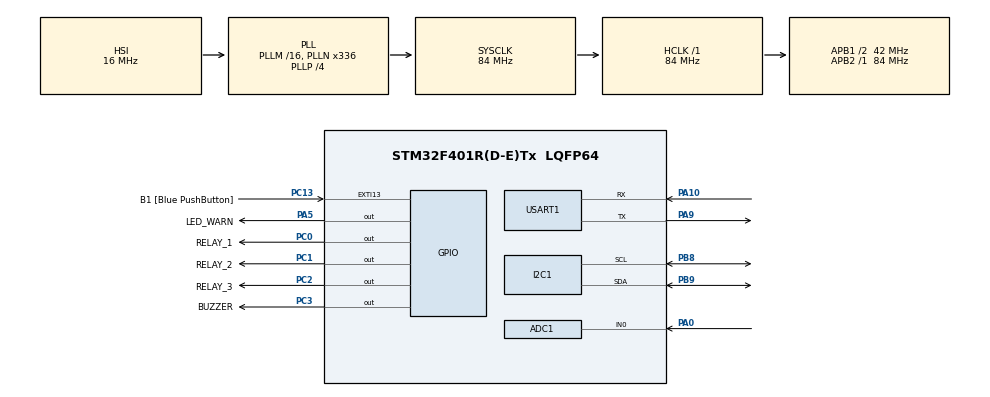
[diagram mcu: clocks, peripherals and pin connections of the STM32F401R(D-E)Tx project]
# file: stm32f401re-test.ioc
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ADC1.Channel-0\#ChannelRegularConversion=ADC_CHANNEL_0
ADC1.NbrOfConversionFlag=1
ADC1.Rank-0\#ChannelRegularConversion=1
ADC1.SamplingTime-0\#ChannelRegularConversion=ADC_SAMPLETIME_3CYCLES
ADC1.master=1
Mcu.Family=STM32F4
Mcu.Name=STM32F401R(D-E)Tx
Mcu.Package=LQFP64
NVIC.PriorityGroup=NVIC_PRIORITYGROUP_4
NVIC.USART1_IRQn=true\:0\:0\:false\:false\:true\:true\:true\:true
PA0-WKUP.Signal=ADCx_IN0
PA10.Mode=Asynchronous
PA10.Signal=USART1_RX
PA13.GPIO_Label=TMS
PA13.Mode=Serial_Wire
PA13.Signal=SYS_JTMS-SWDIO
PA14.GPIO_Label=TCK
PA14.Mode=Serial_Wire
PA14.Signal=SYS_JTCK-SWCLK
PA2.GPIO_Label=USART_TX
PA2.GPIO_Mode=GPIO_MODE_AF_PP
PA2.GPIO_PuPd=GPIO_NOPULL
PA2.GPIO_Speed=GPIO_SPEED_FREQ_LOW
PA2.Signal=USART2_TX
PA3.GPIO_Label=USART_RX
PA3.GPIO_Mode=GPIO_MODE_AF_PP
PA3.GPIO_PuPd=GPIO_NOPULL
PA3.GPIO_Speed=GPIO_SPEED_FREQ_LOW
PA3.Signal=USART2_RX
PA5.GPIO_Label=LED_WARN
PA5.GPIO_Mode=GPIO_MODE_OUTPUT_PP
PA5.GPIO_PuPd=GPIO_NOPULL
PA5.GPIO_Speed=GPIO_SPEED_FREQ_LOW
PA5.Signal=GPIO_Output
PA9.Mode=Asynchronous
PA9.Signal=USART1_TX
PB3.GPIO_Label=SWO
PB3.Signal=SYS_JTDO-SWO
PB8.Mode=I2C
PB8.Signal=I2C1_SCL
PB9.Mode=I2C
PB9.Signal=I2C1_SDA
PC0.GPIO_Label=RELAY_1
PC0.Signal=GPIO_Output
PC1.GPIO_Label=RELAY_2
PC1.Signal=GPIO_Output
PC13-ANTI_TAMP.GPIO_Label=B1 [Blue PushButton]
PC13-ANTI_TAMP.GPIO_ModeDefaultEXTI=GPIO_MODE_IT_FALLING
PC13-ANTI_TAMP.GPIO_PuPd=GPIO_NOPULL
PC13-ANTI_TAMP.Signal=GPXTI13
PC14-OSC32_IN.Mode=LSE-External-Oscillator
PC14-OSC32_IN.Signal=RCC_OSC32_IN
PC15-OSC32_OUT.Mode=LSE-External-Oscillator
PC15-OSC32_OUT.Signal=RCC_OSC32_OUT
PC2.GPIO_Label=RELAY_3
PC2.Signal=GPIO_Output
PC3.GPIO_Label=BUZZER
PC3.Signal=GPIO_Output
PH0\ -\ OSC_IN.Mode=HSE-External-Clock-Source
PH0\ -\ OSC_IN.Signal=RCC_OSC_IN
PH1\ -\ OSC_OUT.Mode=HSE-External-Clock-Source
PH1\ -\ OSC_OUT.Signal=RCC_OSC_OUT
ProjectManager.HeapSize=0x200
ProjectManager.StackSize=0x400
ProjectManager.TargetToolchain=STM32CubeIDE
RCC.48MHZClocksFreq_Value=48000000
RCC.AHBFreq_Value=84000000
RCC.APB1CLKDivider=RCC_HCLK_DIV2
RCC.APB1Freq_Value=42000000
RCC.APB1TimFreq_Value=84000000
RCC.APB2Freq_Value=84000000
RCC.APB2TimFreq_Value=84000000
RCC.CortexFreq_Value=84000000
RCC.HCLKFreq_Value=84000000
RCC.HSE_VALUE=8000000
RCC.HSI_VALUE=16000000
RCC.PLLN=336
RCC.PLLP=RCC_PLLP_DIV4
RCC.PLLQ=7
RCC.SYSCLKFreq_VALUE=84000000
RCC.SYSCLKSource=RCC_SYSCLKSOURCE_PLLCLK
RCC.VCOOutputFreq_Value=336000000
SH.ADCx_IN0.0=ADC1_IN0,IN0
USART1.VirtualMode=VM_ASYNC
board=NUCLEO-F401RE

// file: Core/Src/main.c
/* USER CODE BEGIN Header */
/**
 ******************************************************************************
 * @file           : main.c
 * @brief          : Main program body
 ******************************************************************************
 * @attention
 *
 * Copyright (c) 2026 STMicroelectronics.
 * All rights reserved.
 *
 * This software is licensed under terms that can be found in the LICENSE file
 * in the root directory of this software component.
 * If no LICENSE file comes with this software, it is provided AS-IS.
 *
 ******************************************************************************
 */
/* USER CODE END Header */
#include "main.h"

/* USER CODE BEGIN Includes */
#include "app_types.h"
#include "sensor_bmp280.h"
#include "sensor_bh1750.h"
#include "sensor_mq135.h"
#include "actuator_relay.h"
#include "actuator_alert.h"
#include "comm_esp8266_tx.h"
#include "comm_esp8266_rx.h"
#include <stdio.h>
#include <string.h>
/* USER CODE END Includes */

ADC_HandleTypeDef hadc1;

I2C_HandleTypeDef hi2c1;

UART_HandleTypeDef huart1;

/* USER CODE BEGIN PV */
SensorData_t labData; // Khởi tạo biến labData dùng chung cho hệ thống
Thresholds_t sysThresholds = { 30.0f, 100.0f, 60 };
// Biến lưu chế độ hoạt động: 1 = AUTO (Tự động), 0 = MANUAL (Thủ công)
volatile uint8_t sync_request = 0;
volatile uint8_t systemMode = 1;
/* USER CODE END PV */

void SystemClock_Config(void);
static void MX_GPIO_Init(void);
static void MX_ADC1_Init(void);
static void MX_I2C1_Init(void);
static void MX_USART1_UART_Init(void);

int main(void)
{

  /* MCU Configuration--------------------------------------------------------*/

  /* Reset of all peripherals, Initializes the Flash interface and the Systick. */
  HAL_Init();

  /* Configure the system clock */
  SystemClock_Config();

  /* Initialize all configured peripherals */
  MX_GPIO_Init();
  MX_ADC1_Init();
  MX_I2C1_Init();
  MX_USART1_UART_Init();
  /* USER CODE BEGIN 2 */
	// Khởi động cảm biến ánh sáng
//	BH1750_Init(&hi2c1);
//	// Khởi động cảm biến nhiệt độ
	BMP280_Init(&hi2c1);
	// Bật chế độ lắng nghe lệnh từ Server qua ngắt UART
	HAL_NVIC_SetPriority(USART1_IRQn, 0, 0);
	HAL_NVIC_EnableIRQ(USART1_IRQn);
	UART_StartReceive(&huart1);
	// Chờ 2 giây để mạch ESP8266 và kết nối WiFi (trong thực tế) kịp khởi động và ổn định
	HAL_Delay(2000);
	// THÊM DÒNG NÀY: Chạy tự động hiệu chuẩn MQ135 (Tốn thêm khoảng 500ms)
//	    MQ135_Calibrate(&hadc1);
	  // Phát tín hiệu xin lại cấu hình từ Backend
	UART_SendBootUpRequest(&huart1);
  /* USER CODE END 2 */

  /* Infinite loop */
	while (1) {

    /* USER CODE BEGIN 3 */
//		uint16_t current_adc = 0;
//		labData.airQuality = MQ135_ReadAirQuality(&hadc1, &current_adc);
		// THÊM DÒNG NÀY: Cập nhật nhiệt độ liên tục
		labData.temperature = BMP280_ReadTemperature(&hi2c1);

		// THÊM DÒNG NÀY: Cập nhật cường độ ánh sáng liên tục
//		labData.lightIntensity = BH1750_ReadLight(&hi2c1);

		// --- BỨC TƯỜNG BẢO VỆ ---
		// Chỉ tự động bật/tắt quạt khi đang ở chế độ AUTO (mode = 1)
		if (systemMode == 1) {
//			if (labData.airQuality >= sysThresholds.gas) {
//				Alert_LocalTrigger(ALERT_ON);
//				Relay_ControlDevice(DEVICE_EXHAUST, DEVICE_ON);
//				labData.alertStatus = 1;
//			} else {
//				Alert_LocalTrigger(ALERT_OFF);
//				Relay_ControlDevice(DEVICE_EXHAUST, DEVICE_OFF);
//				labData.alertStatus = 0;
//			}
			if (labData.temperature >= sysThresholds.temperature) {
				Relay_ControlDevice(DEVICE_FAN, DEVICE_ON); // Bật quạt
			} else {
				Relay_ControlDevice(DEVICE_FAN, DEVICE_OFF); // Tắt quạt
			}
//			if (labData.lightIntensity < sysThresholds.light) {
//				Relay_ControlDevice(DEVICE_LIGHT, DEVICE_ON);
//			} else {
//				Relay_ControlDevice(DEVICE_LIGHT, DEVICE_OFF);
//			}
		}
		// Nếu Mode = 0, đoạn code trên bị vô hiệu hóa hoàn toàn!
		if (sync_request == 1) {
			Relay_ControlDevice(DEVICE_LIGHT, DEVICE_ON);
			UART_SendSyncState(&huart1); // Trả lời dữ liệu JSON "GET_SYNC"
			sync_request = 0;            // Hạ cờ báo
			HAL_Delay(500);               // Chờ giãn cách khung truyền
		}
		UART_SendToESP(&huart1, &labData);

		// TĂNG THỜI GIAN CHỜ LÊN 3 GIÂY ĐỂ ĐƯỜNG TRUYỀN ĐƯỢC RẢNH RỖI
		HAL_Delay(1000);
	}
  /* USER CODE END 3 */
}

void SystemClock_Config(void)
{
  RCC_OscInitTypeDef RCC_OscInitStruct = {0};
  RCC_ClkInitTypeDef RCC_ClkInitStruct = {0};

  /** Configure the main internal regulator output voltage
  */
  __HAL_RCC_PWR_CLK_ENABLE();
  __HAL_PWR_VOLTAGESCALING_CONFIG(PWR_REGULATOR_VOLTAGE_SCALE2);

  /** Initializes the RCC Oscillators according to the specified parameters
  * in the RCC_OscInitTypeDef structure.
  */
  RCC_OscInitStruct.OscillatorType = RCC_OSCILLATORTYPE_HSI;
  RCC_OscInitStruct.HSIState = RCC_HSI_ON;
  RCC_OscInitStruct.HSICalibrationValue = RCC_HSICALIBRATION_DEFAULT;
  RCC_OscInitStruct.PLL.PLLState = RCC_PLL_ON;
  RCC_OscInitStruct.PLL.PLLSource = RCC_PLLSOURCE_HSI;
  RCC_OscInitStruct.PLL.PLLM = 16;
  RCC_OscInitStruct.PLL.PLLN = 336;
  RCC_OscInitStruct.PLL.PLLP = RCC_PLLP_DIV4;
  RCC_OscInitStruct.PLL.PLLQ = 7;
  if (HAL_RCC_OscConfig(&RCC_OscInitStruct) != HAL_OK)
  {
    Error_Handler();
  }

  /** Initializes the CPU, AHB and APB buses clocks
  */
  RCC_ClkInitStruct.ClockType = RCC_CLOCKTYPE_HCLK|RCC_CLOCKTYPE_SYSCLK
                              |RCC_CLOCKTYPE_PCLK1|RCC_CLOCKTYPE_PCLK2;
  RCC_ClkInitStruct.SYSCLKSource = RCC_SYSCLKSOURCE_PLLCLK;
  RCC_ClkInitStruct.AHBCLKDivider = RCC_SYSCLK_DIV1;
  RCC_ClkInitStruct.APB1CLKDivider = RCC_HCLK_DIV2;
  RCC_ClkInitStruct.APB2CLKDivider = RCC_HCLK_DIV1;

  if (HAL_RCC_ClockConfig(&RCC_ClkInitStruct, FLASH_LATENCY_2) != HAL_OK)
  {
    Error_Handler();
  }
}

static void MX_ADC1_Init(void)
{

  ADC_ChannelConfTypeDef sConfig = {0};

  /** Configure the global features of the ADC (Clock, Resolution, Data Alignment and number of conversion)
  */
  hadc1.Instance = ADC1;
  hadc1.Init.ClockPrescaler = ADC_CLOCK_SYNC_PCLK_DIV4;
  hadc1.Init.Resolution = ADC_RESOLUTION_12B;
  hadc1.Init.ScanConvMode = DISABLE;
  hadc1.Init.ContinuousConvMode = DISABLE;
  hadc1.Init.DiscontinuousConvMode = DISABLE;
  hadc1.Init.ExternalTrigConvEdge = ADC_EXTERNALTRIGCONVEDGE_NONE;
  hadc1.Init.ExternalTrigConv = ADC_SOFTWARE_START;
  hadc1.Init.DataAlign = ADC_DATAALIGN_RIGHT;
  hadc1.Init.NbrOfConversion = 1;
  hadc1.Init.DMAContinuousRequests = DISABLE;
  hadc1.Init.EOCSelection = ADC_EOC_SINGLE_CONV;
  if (HAL_ADC_Init(&hadc1) != HAL_OK)
  {
    Error_Handler();
  }

  /** Configure for the selected ADC regular channel its corresponding rank in the sequencer and its sample time.
  */
  sConfig.Channel = ADC_CHANNEL_0;
  sConfig.Rank = 1;
  sConfig.SamplingTime = ADC_SAMPLETIME_3CYCLES;
  if (HAL_ADC_ConfigChannel(&hadc1, &sConfig) != HAL_OK)
  {
    Error_Handler();
  }

}

static void MX_I2C1_Init(void)
{

  hi2c1.Instance = I2C1;
  hi2c1.Init.ClockSpeed = 100000;
  hi2c1.Init.DutyCycle = I2C_DUTYCYCLE_2;
  hi2c1.Init.OwnAddress1 = 0;
  hi2c1.Init.AddressingMode = I2C_ADDRESSINGMODE_7BIT;
  hi2c1.Init.DualAddressMode = I2C_DUALADDRESS_DISABLE;
  hi2c1.Init.OwnAddress2 = 0;
  hi2c1.Init.GeneralCallMode = I2C_GENERALCALL_DISABLE;
  hi2c1.Init.NoStretchMode = I2C_NOSTRETCH_DISABLE;
  if (HAL_I2C_Init(&hi2c1) != HAL_OK)
  {
    Error_Handler();
  }

}

static void MX_USART1_UART_Init(void)
{

  huart1.Instance = USART1;
  huart1.Init.BaudRate = 115200;
  huart1.Init.WordLength = UART_WORDLENGTH_8B;
  huart1.Init.StopBits = UART_STOPBITS_1;
  huart1.Init.Parity = UART_PARITY_NONE;
  huart1.Init.Mode = UART_MODE_TX_RX;
  huart1.Init.HwFlowCtl = UART_HWCONTROL_NONE;
  huart1.Init.OverSampling = UART_OVERSAMPLING_16;
  if (HAL_UART_Init(&huart1) != HAL_OK)
  {
    Error_Handler();
  }

}

static void MX_GPIO_Init(void)
{
  GPIO_InitTypeDef GPIO_InitStruct = {0};

  /* GPIO Ports Clock Enable */
  __HAL_RCC_GPIOC_CLK_ENABLE();
  __HAL_RCC_GPIOH_CLK_ENABLE();
  __HAL_RCC_GPIOA_CLK_ENABLE();
  __HAL_RCC_GPIOB_CLK_ENABLE();

  /*Configure GPIO pin Output Level */
  HAL_GPIO_WritePin(GPIOC, RELAY_1_Pin|RELAY_2_Pin|RELAY_3_Pin|BUZZER_Pin, GPIO_PIN_RESET);

  /*Configure GPIO pin Output Level */
  HAL_GPIO_WritePin(LED_WARN_GPIO_Port, LED_WARN_Pin, GPIO_PIN_RESET);

  /*Configure GPIO pin : B1_Pin */
  GPIO_InitStruct.Pin = B1_Pin;
  GPIO_InitStruct.Mode = GPIO_MODE_IT_FALLING;
  GPIO_InitStruct.Pull = GPIO_NOPULL;
  HAL_GPIO_Init(B1_GPIO_Port, &GPIO_InitStruct);

  /*Configure GPIO pins : RELAY_1_Pin RELAY_2_Pin RELAY_3_Pin BUZZER_Pin */
  GPIO_InitStruct.Pin = RELAY_1_Pin|RELAY_2_Pin|RELAY_3_Pin|BUZZER_Pin;
  GPIO_InitStruct.Mode = GPIO_MODE_OUTPUT_PP;
  GPIO_InitStruct.Pull = GPIO_NOPULL;
  GPIO_InitStruct.Speed = GPIO_SPEED_FREQ_LOW;
  HAL_GPIO_Init(GPIOC, &GPIO_InitStruct);

  /*Configure GPIO pins : USART_TX_Pin USART_RX_Pin */
  GPIO_InitStruct.Pin = USART_TX_Pin|USART_RX_Pin;
  GPIO_InitStruct.Mode = GPIO_MODE_AF_PP;
  GPIO_InitStruct.Pull = GPIO_NOPULL;
  GPIO_InitStruct.Speed = GPIO_SPEED_FREQ_LOW;
  GPIO_InitStruct.Alternate = GPIO_AF7_USART2;
  HAL_GPIO_Init(GPIOA, &GPIO_InitStruct);

  /*Configure GPIO pin : LED_WARN_Pin */
  GPIO_InitStruct.Pin = LED_WARN_Pin;
  GPIO_InitStruct.Mode = GPIO_MODE_OUTPUT_PP;
  GPIO_InitStruct.Pull = GPIO_NOPULL;
  GPIO_InitStruct.Speed = GPIO_SPEED_FREQ_LOW;
  HAL_GPIO_Init(LED_WARN_GPIO_Port, &GPIO_InitStruct);

}

void Error_Handler(void)
{
	__disable_irq();
	while (1) {
	}
}
